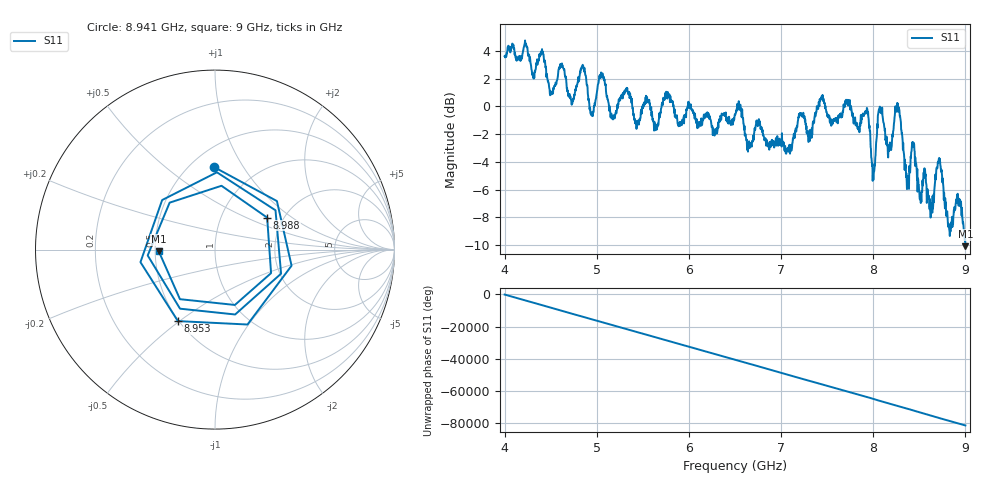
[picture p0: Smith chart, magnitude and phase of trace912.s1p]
! Created with skrf 1.8.0 (http://scikit-rf.org).
# Hz S RI R 50.0
!freq ReS11 ImS11
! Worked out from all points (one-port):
!   1601 points, 4 GHz to 9 GHz, reference 50 ohm
!   lowest |S11| = -10.1 dB at 9 GHz (marker M1), VSWR 1.91, Z = 26.1 - j0.565 ohm
!   |S11| at or under -10 dB: 8.999642 GHz to end of sweep
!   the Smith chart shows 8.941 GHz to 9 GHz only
!   S11 on the Smith chart (normalised r, x): 8.941 GHz: 0.64, +0.75; 8.953 GHz: 0.49, -0.49; 8.988 GHz: 1.65, +0.67; 9 GHz: 0.52, -0.01
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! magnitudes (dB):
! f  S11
! 4 GHz  3.6
! 4.403 GHz  3.9
! 4.509 GHz  0.9
! 4.625 GHz  3.0
! 4.734 GHz  0.2
! 4.856 GHz  2.8
! 4.944 GHz  -0.4
! 5.05 GHz  2.2
! 5.172 GHz  -0.9
! 5.25 GHz  0.6
! 5.875 GHz  -0.9
! 6.5 GHz  -0.6
! 7.125 GHz  -2.6
! 7.75 GHz  -0.2
! 7.928 GHz  -0.4
! 8 GHz  -5.3
! 8.075 GHz  -0.3
! 8.175 GHz  -3.1
! 8.266 GHz  0.2
! 8.375 GHz  -5.8
! 8.431 GHz  -2.6
! 8.625 GHz  -7.9
! 8.709 GHz  -4.0
! 8.825 GHz  -8.9
! 8.941 GHz  -6.7
! 8.953 GHz  -7.0
! 8.988 GHz  -9.3
! 9 GHz  -10.1
